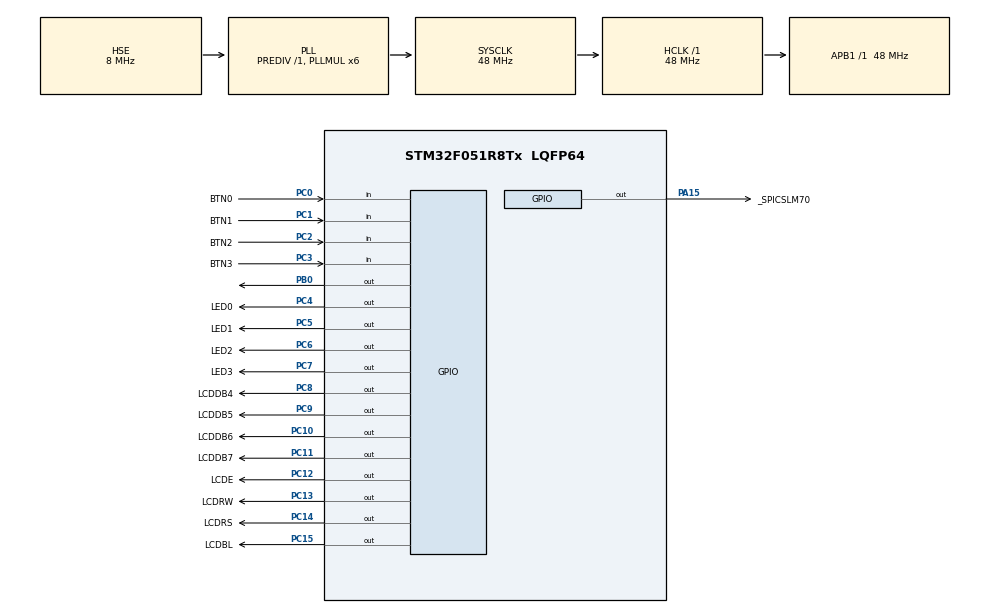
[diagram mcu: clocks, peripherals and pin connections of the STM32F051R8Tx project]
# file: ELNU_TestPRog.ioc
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Mcu.Family=STM32F0
Mcu.Name=STM32F051R8Tx
Mcu.Package=LQFP64
PA13.Mode=Serial_Wire
PA13.Signal=SYS_SWDIO
PA14.Mode=Serial_Wire
PA14.Signal=SYS_SWCLK
PA15.GPIO_Label=_SPICSLM70
PA15.PinState=GPIO_PIN_SET
PA15.Signal=GPIO_Output
PA5.GPIO_Label=SPISCK
PA5.Signal=SPI1_SCK
PA6.GPIO_Label=SPIMISO
PA6.Signal=SPI1_MISO
PB0.Signal=GPIO_Output
PB1.Signal=S_TIM14_CH1
PC0.GPIO_Label=BTN0
PC0.Signal=GPIO_Input
PC1.GPIO_Label=BTN1
PC1.Signal=GPIO_Input
PC10.GPIO_Label=LCDDB6
PC10.Signal=GPIO_Output
PC11.GPIO_Label=LCDDB7
PC11.Signal=GPIO_Output
PC12.GPIO_Label=LCDE
PC12.Signal=GPIO_Output
PC13.GPIO_Label=LCDRW
PC13.Signal=GPIO_Output
PC14-OSC32_IN.GPIO_Label=LCDRS
PC14-OSC32_IN.Signal=GPIO_Output
PC15-OSC32_OUT.GPIO_Label=LCDBL
PC15-OSC32_OUT.Signal=GPIO_Output
PC2.GPIO_Label=BTN2
PC2.Signal=GPIO_Input
PC3.GPIO_Label=BTN3
PC3.Signal=GPIO_Input
PC4.GPIO_Label=LED0
PC4.PinState=GPIO_PIN_SET
PC4.Signal=GPIO_Output
PC5.GPIO_Label=LED1
PC5.PinState=GPIO_PIN_SET
PC5.Signal=GPIO_Output
PC6.GPIO_Label=LED2
PC6.PinState=GPIO_PIN_SET
PC6.Signal=GPIO_Output
PC7.GPIO_Label=LED3
PC7.PinState=GPIO_PIN_SET
PC7.Signal=GPIO_Output
PC8.GPIO_Label=LCDDB4
PC8.Signal=GPIO_Output
PC9.GPIO_Label=LCDDB5
PC9.Signal=GPIO_Output
PF0-OSC_IN.GPIO_Label=OSCIN
PF0-OSC_IN.Mode=HSE-External-Oscillator
PF0-OSC_IN.Signal=RCC_OSC_IN
PF1-OSC_OUT.GPIO_Label=OSCOUT
PF1-OSC_OUT.Mode=HSE-External-Oscillator
PF1-OSC_OUT.Signal=RCC_OSC_OUT
PF6.Signal=I2C2_SCL
PF7.Signal=I2C2_SDA
ProjectManager.HeapSize=0x200
ProjectManager.StackSize=0x400
ProjectManager.TargetToolchain=MDK-ARM V5
RCC.AHBFreq_Value=48000000
RCC.APB1Freq_Value=48000000
RCC.APB1TimFreq_Value=48000000
RCC.EnbaleCSS=true
RCC.HCLKFreq_Value=48000000
RCC.PLLMUL=RCC_PLL_MUL6
RCC.PLLSourceVirtual=RCC_PLLSOURCE_HSE
RCC.SYSCLKFreq_VALUE=48000000
RCC.SYSCLKSource=RCC_SYSCLKSOURCE_PLLCLK
SH.S_TIM14_CH1.0=TIM14_CH1
TIM14.Period=999
TIM14.Prescaler=47
TIM6.Period=19999
TIM6.Prescaler=479
VP_TIM14_VS_ClockSourceINT.Mode=Enable_Timer
VP_TIM6_VS_ClockSourceINT.Mode=Enable_Timer
board=test01_blink

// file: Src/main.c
/* USER CODE BEGIN Header */
/**
  ******************************************************************************
  * @file           : main.c
  * @brief          : Main program body
  ******************************************************************************
  * @attention
  *
  * <h2><center>&copy; Copyright (c) 2021 STMicroelectronics.
  * All rights reserved.</center></h2>
  *
  * This software component is licensed by ST under BSD 3-Clause license,
  * the "License"; You may not use this file except in compliance with the
  * License. You may obtain a copy of the License at:
  *                        opensource.org/licenses/BSD-3-Clause
  *
  ******************************************************************************
  */
/* USER CODE END Header */
#include "main.h"
#include "tim.h"
#include "gpio.h"

/* USER CODE BEGIN Includes */
#include <stdint.h>

#include "fonctionsTestELNU.h"
#include "stm32DriverLcd.h"
#include "stm32f0xx_it.h"
/* USER CODE END Includes */

void SystemClock_Config(void);

int main(void)
{
  /* USER CODE BEGIN 1 */
	//-- déclaration de variable --//
uint8_t machineState = 0;
enum machineState {STATE_INIT, STATE_EXEC, STATE_WAIT};
uint8_t n_canal;
  /* USER CODE END 1 */

  /* MCU Configuration--------------------------------------------------------*/

  /* Reset of all peripherals, Initializes the Flash interface and the Systick. */
  HAL_Init();

  /* Configure the system clock */
  SystemClock_Config();

  /* Initialize all configured peripherals */
  MX_GPIO_Init();
  MX_TIM6_Init();
  MX_TIM14_Init();
  /* USER CODE BEGIN 2 */
	//-- initialisation LCD avec message utilisateur --//
	lcd_init();
	lcd_bl_on();
  lcd_gotoxy(1,1);
	printf_lcd("TEST ELNU 23");
	lcd_gotoxy(1,2);
	printf_lcd("SOLUS XXX");

	//-- activation du timer 6 avec interruption --//

	//-- calibration pour l'ADC --//

  /* USER CODE END 2 */

  /* Infinite loop */
  /* USER CODE BEGIN WHILE */
  while (1)
  {
		//-- Machine d'état --//
		switch (machineState)
		{
			//-- Initialisation --//
			case 0:

				//-- appel fonction chenillard --//

				//-- allumer les leds pendant 5s --//

				//-- eteindre les leds --//
						FctEteindreLeds();
				//-- lancement du timer14 avec interruption --//

				//-- mise à jour de la machine d'état --//
						machineState = STATE_WAIT;
			break;
			//-- Execution --//
			case 1:
				//-- lecture de l'ADC => canal 1 --//
					FctLectureADC(n_canal);
				//-- controle des seuils --//

				//-- test si touches sont activée actif à 1 (actif toutes les 100ms)--//

				//-- action selon l'état des touches --//

					//-- appel de la fonction CreationDentScieGauche --//

					//-- appel de la fonction CreationDentSciedroite --//

					//-- appel de la fonction CreationTriangle --//

					//-- mise à du tableau à zéro --//
			break;

			//-- Attente --//
			case 2:
					//-- ne fait rien
			break;
			}
    /* USER CODE END WHILE */

	}
}

void SystemClock_Config(void)
{
  RCC_OscInitTypeDef RCC_OscInitStruct = {0};
  RCC_ClkInitTypeDef RCC_ClkInitStruct = {0};

  /** Initializes the RCC Oscillators according to the specified parameters
  * in the RCC_OscInitTypeDef structure.
  */
  RCC_OscInitStruct.OscillatorType = RCC_OSCILLATORTYPE_HSE;
  RCC_OscInitStruct.HSEState = RCC_HSE_ON;
  RCC_OscInitStruct.PLL.PLLState = RCC_PLL_ON;
  RCC_OscInitStruct.PLL.PLLSource = RCC_PLLSOURCE_HSE;
  RCC_OscInitStruct.PLL.PLLMUL = RCC_PLL_MUL6;
  RCC_OscInitStruct.PLL.PREDIV = RCC_PREDIV_DIV1;
  if (HAL_RCC_OscConfig(&RCC_OscInitStruct) != HAL_OK)
  {
    Error_Handler();
  }
  /** Initializes the CPU, AHB and APB buses clocks
  */
  RCC_ClkInitStruct.ClockType = RCC_CLOCKTYPE_HCLK|RCC_CLOCKTYPE_SYSCLK
                              |RCC_CLOCKTYPE_PCLK1;
  RCC_ClkInitStruct.SYSCLKSource = RCC_SYSCLKSOURCE_PLLCLK;
  RCC_ClkInitStruct.AHBCLKDivider = RCC_SYSCLK_DIV1;
  RCC_ClkInitStruct.APB1CLKDivider = RCC_HCLK_DIV1;

  if (HAL_RCC_ClockConfig(&RCC_ClkInitStruct, FLASH_LATENCY_1) != HAL_OK)
  {
    Error_Handler();
  }
  /** Enables the Clock Security System
  */
  HAL_RCC_EnableCSS();
}

void Error_Handler(void)
{
  __disable_irq();
  while (1)
  {
  }
}

/************************ (C) COPYRIGHT STMicroelectronics *****END OF FILE****/
